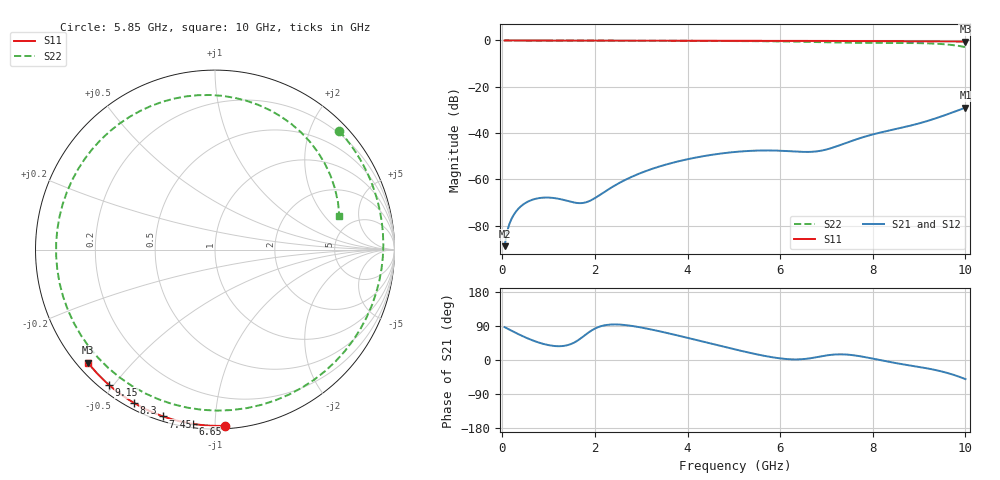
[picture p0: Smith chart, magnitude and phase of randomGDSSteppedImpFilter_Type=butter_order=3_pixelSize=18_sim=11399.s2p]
! freq	dB(S11)	phase(S11)	dB(S12)	phase(S12)
!  dB(S21)	phase(S21)	dB(S22)	phase(S22)
!S-par simulation data
#  GHz  S  DB  R 50
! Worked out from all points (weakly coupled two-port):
!   200 points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, 50 MHz to 10 GHz, reference 50 ohm
!   highest |S21| = -29.02 dB at 10 GHz (marker M1); lowest = -88.8 dB at 50 MHz (marker M2)
!   lowest |S11| = -0.5 dB at 10 GHz (marker M3), VSWR 36.96, Z = 1.55 - j19 ohm
!   |S11| at or under -10 dB: nowhere
!   |S22| runs from -2.9 to 0.0 dB; largest |S21 - S12| = 0
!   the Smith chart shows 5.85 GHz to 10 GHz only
!   S11 on the Smith chart (normalised r, x): 5.85 GHz: 0.02, -1.06; 6.65 GHz: 0.02, -0.88; 7.45 GHz: 0.02, -0.74; 8.3 GHz: 0.02, -0.60; 9.15 GHz: 0.03, -0.49; 10 GHz: 0.03, -0.38
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0.05  -0.00 -0.8  -88.84 86.7  -88.84 86.7  -0.00 -5.8
0.4  -0.01 -6.4  -71.64 65.2  -71.64 65.2  -0.06 -44.4
0.75  -0.02 -11.9  -68.25 47.6  -68.25 47.6  -0.09 -78.0
1.25  -0.03 -19.8  -68.51 36.4  -68.51 36.4  -0.11 -115.5
1.75  -0.04 -27.6  -70.16 62.2  -70.16 62.2  -0.11 -143.8
2.5  -0.05 -39.1  -61.84 93.7  -61.84 93.7  -0.12 -176.6
3.4  -0.07 -52.5  -54.39 75.7  -54.39 75.7  -0.14 150.2
4.3  -0.09 -65.5  -50.12 49.6  -50.12 49.6  -0.19 117.2
5.05  -0.12 -75.9  -48.11 27.2  -48.11 27.2  -0.25 86.0
5.85  -0.15 -86.7  -47.53 6.8  -47.53 6.8  -0.38 43.7
6.3  -0.17 -92.6  -47.94 1.6  -47.94 1.6  -0.50 13.2
6.65  -0.19 -97.1  -48.12 4.5  -48.12 4.5  -0.63 -15.2
6.7  -0.19 -97.8  -48.07 5.5  -48.07 5.5  -0.65 -19.6
7.1  -0.21 -102.9  -46.52 13.6  -46.52 13.6  -0.83 -57.9
7.45  -0.24 -107.3  -44.06 14.3  -44.06 14.3  -0.96 -94.6
7.9  -0.27 -112.9  -41.14 6.1  -41.14 6.1  -1.04 -142.4
8.3  -0.30 -117.8  -39.13 -3.7  -39.13 -3.7  -1.05 177.6
8.35  -0.30 -118.4  -38.90 -4.8  -38.90 -4.8  -1.05 172.8
8.8  -0.34 -123.9  -36.85 -14.4  -36.85 -14.4  -1.09 131.6
9.15  -0.38 -128.1  -34.96 -21.5  -34.96 -21.5  -1.22 100.7
9.55  -0.42 -132.9  -32.32 -32.2  -32.32 -32.2  -1.64 63.8
10  -0.47 -138.3  -29.02 -50.4  -29.02 -50.4  -2.89 15.0
